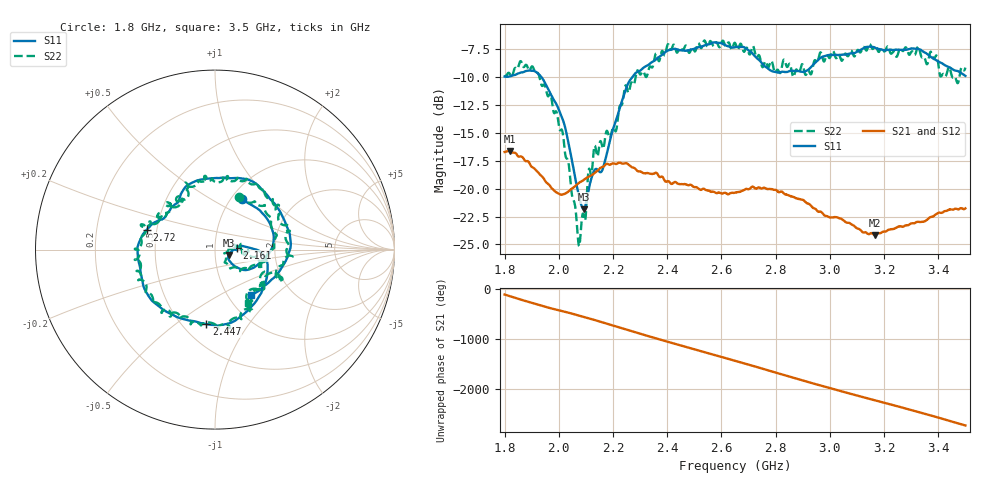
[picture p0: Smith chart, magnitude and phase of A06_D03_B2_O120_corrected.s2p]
! Created with skrf 1.9.0 (http://scikit-rf.org).
# Hz S RI R 50.0
!freq ReS11 ImS11 ReS21 ImS21 ReS12 ImS12 ReS22 ImS22
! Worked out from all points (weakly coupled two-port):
!   1601 points, 1.8 GHz to 3.5 GHz, reference 50 ohm
!   highest |S21| = -16.61 dB at 1.818 GHz (marker M1); lowest = -24.1 dB at 3.165 GHz (marker M2)
!   lowest |S11| = -21.8 dB at 2.091 GHz (marker M3), VSWR 1.18, Z = 58 - j3.42 ohm
!   |S11| at or under -10 dB: 1.936 GHz to 2.271 GHz (335.2 MHz wide, 15.9 % of centre)
!   |S22| runs from -25.2 to -6.7 dB; largest |S21 - S12| = 0.0026
!   S11 on the Smith chart (normalised r, x): 1.8 GHz: 1.13, +0.70; 2.161 GHz: 1.28, +0.03; 2.447 GHz: 0.65, -0.65; 2.72 GHz: 0.44, +0.11; 3.5 GHz: 1.27, -0.71
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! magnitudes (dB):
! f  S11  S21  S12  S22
! 1.8 GHz  -9.9  -16.7  -16.7  -9.8
! 1.818 GHz  -9.9  -16.6  -16.6  -9.7
! 1.903 GHz  -9.4  -18.1  -18.1  -9.0
! 1.968 GHz  -11.4  -19.8  -19.8  -11.5
! 2.015 GHz  -13.8  -20.5  -20.5  -15.0
! 2.072 GHz  -20.4  -19.5  -19.6  -24.8
! 2.084 GHz  -21.5  -19.4  -19.3  -23.0
! 2.091 GHz  -21.8  -19.2  -19.3  -22.3
! 2.13 GHz  -18.4  -18.6  -18.6  -16.3
! 2.161 GHz  -18.3  -18.1  -18.0  -16.3
! 2.257 GHz  -10.5  -17.8  -17.8  -11.4
! 2.367 GHz  -8.2  -18.8  -18.8  -8.5
! 2.447 GHz  -7.6  -19.6  -19.6  -7.3
! 2.65 GHz  -7.3  -20.4  -20.3  -6.9
! 2.72 GHz  -8.0  -19.9  -19.8  -7.4
! 2.802 GHz  -9.6  -20.1  -20.2  -9.5
! 2.934 GHz  -9.0  -21.6  -21.6  -9.5
! 3.165 GHz  -7.3  -24.1  -24.1  -7.2
! 3.217 GHz  -7.5  -23.7  -23.6  -7.4
! 3.376 GHz  -8.2  -22.5  -22.5  -7.9
! 3.468 GHz  -9.4  -21.8  -21.8  -10.4
! 3.5 GHz  -9.9  -21.8  -21.7  -9.1
